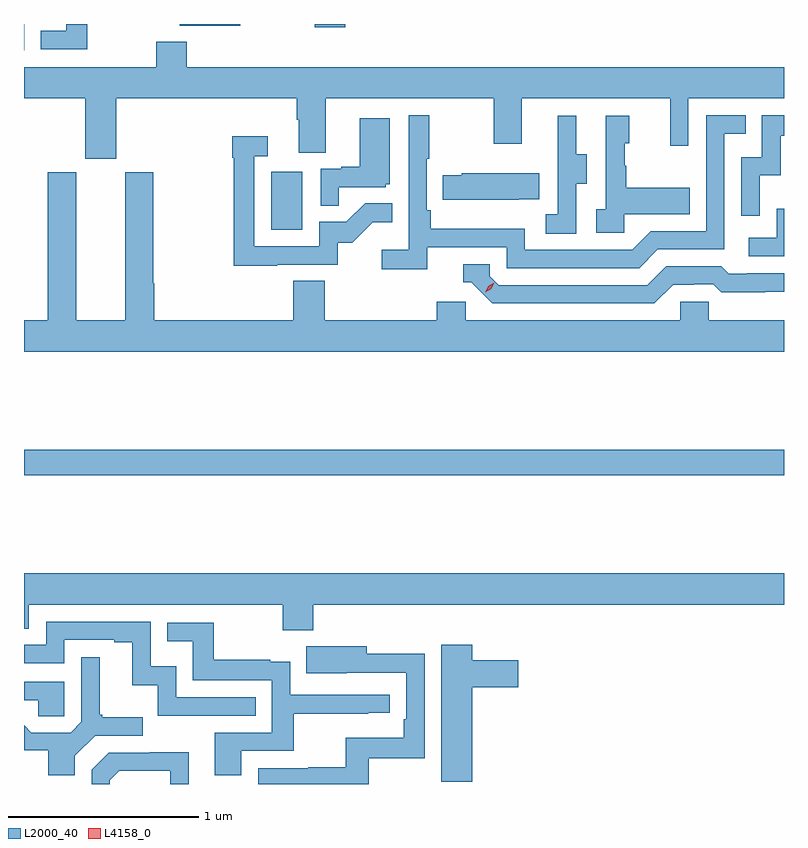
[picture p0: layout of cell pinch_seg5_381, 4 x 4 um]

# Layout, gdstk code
import gdstk
lib = gdstk.Library(unit=1e-6, precision=1e-09)
def R(c, l, rs):  # rectangles x0, y0, x1, y1
    for r in rs: c.add(gdstk.rectangle(r[:2], r[2:], *l))
def P(c, l, *ps):  # polygons
    for p in ps: c.add(gdstk.Polygon(p, *l))
L2000_40 = (2000, 40)
L4158_0 = (4158, 0)

pinch_seg5_381 = lib.new_cell('pinch_seg5_381')
R(pinch_seg5_381, L2000_40, [(986.086,865.432,990.086,865.568), (987.386,866.724,987.55,867.031), (986.086,867.669,986.088,867.808), (987.617,867.792,987.778,867.808), (986.905,867.8,987.223,867.808)])
P(pinch_seg5_381, L2000_40, [(986.419,867.808),(986.308,867.808),(986.308,867.772),(986.173,867.772),(986.173,867.675),(986.419,867.675)],
  [(986.572,867.416),(987.521,867.416),(987.521,867.304),(987.533,867.304),(987.533,867.13),(987.673,867.13),(987.673,867.416),(988.558,867.416),(988.558,867.177),(988.705,867.177),(988.705,867.416),(989.486,867.416),(989.486,867.168),(989.583,867.168),(989.583,867.416),(990.086,867.416),(990.086,867.58),(986.942,867.58),(986.942,867.715),(986.782,867.715),(986.782,867.58),(986.086,867.58),(986.086,867.416),(986.408,867.416),(986.408,867.099),(986.572,867.099)],
  [(988.208,866.634),(988.626,866.634),(988.626,866.523),(989.323,866.523),(989.422,866.622),(989.772,866.622),(989.772,867.231),(989.885,867.231),(989.885,867.327),(989.676,867.327),(989.676,866.718),(989.385,866.718),(989.286,866.619),(988.722,866.619),(988.722,866.731),(988.226,866.731),(988.226,866.827),(988.206,866.827),(988.206,867.1),(988.219,867.1),(988.219,867.328),(988.11,867.328),(988.11,866.62),(987.969,866.62),(987.969,866.518),(988.208,866.518)],
  [(989.958,867.011),(990.068,867.011),(990.068,867.219),(990.086,867.219),(990.086,867.327),(989.97,867.327),(989.97,867.108),(989.862,867.108),(989.862,866.799),(989.958,866.799)],
  [(989.244,866.807),(989.591,866.807),(989.591,866.947),(989.257,866.947),(989.257,867.062),(989.247,867.062),(989.247,867.18),(989.272,867.18),(989.272,867.325),(989.148,867.325),(989.148,866.834),(989.097,866.834),(989.097,866.709),(989.244,866.709)],
  [(988.992,866.968),(989.047,866.968),(989.047,867.123),(988.993,867.123),(988.993,867.325),(988.895,867.325),(988.895,867.111),(988.896,867.111),(988.896,866.807),(988.833,866.807),(988.833,866.704),(988.992,866.704)],
  [(987.743,866.949),(987.99,866.949),(987.99,866.964),(988.012,866.964),(988.012,867.313),(987.854,867.313),(987.854,867.058),(987.755,867.058),(987.755,867.045),(987.648,867.045),(987.648,866.851),(987.743,866.851)],
  [(987.419,866.541),(987.738,866.541),(987.738,866.658),(987.814,866.658),(987.921,866.765),(988.025,866.765),(988.025,866.864),(987.881,866.864),(987.783,866.766),(987.639,866.766),(987.639,866.637),(987.297,866.637),(987.297,867.111),(987.37,867.111),(987.37,867.217),(987.181,867.217),(987.181,867.104),(987.189,867.104),(987.189,866.536),(987.419,866.536)],
  [(990.086,866.248),(989.691,866.248),(989.691,866.346),(989.541,866.346),(989.541,866.248),(988.41,866.248),(988.41,866.346),(988.259,866.346),(988.259,866.248),(987.668,866.248),(987.668,866.456),(987.503,866.456),(987.503,866.248),(986.771,866.248),(986.771,866.444),(986.766,866.444),(986.766,867.027),(986.618,867.027),(986.618,866.248),(986.362,866.248),(986.362,867.027),(986.21,867.027),(986.21,866.248),(986.086,866.248),(986.086,866.084),(990.086,866.084)],
  [(988.691,866.885),(988.799,866.885),(988.799,867.022),(988.389,867.022),(988.389,867.012),(988.291,867.012),(988.291,866.882),(988.691,866.882)],
  [(990.086,866.836),(990.048,866.836),(990.048,866.682),(989.901,866.682),(989.901,866.586),(990.086,866.586)],
  [(989.503,866.436),(989.61,866.436),(989.61,866.439),(989.713,866.439),(989.755,866.397),(989.988,866.397),(989.988,866.399),(990.086,866.399),(990.086,866.496),(989.893,866.496),(989.893,866.493),(989.794,866.493),(989.755,866.532),(989.466,866.532),(989.367,866.433),(988.584,866.433),(988.536,866.481),(988.536,866.544),(988.397,866.544),(988.397,866.448),(988.44,866.448),(988.551,866.337),(989.404,866.337)],
  [(987.608,864.752),(990.086,864.752),(990.086,864.916),(986.086,864.916),(986.086,864.625),(986.112,864.625),(986.112,864.752),(987.448,864.752),(987.448,864.617),(987.608,864.617)],
  [(987.305,864.264),(986.886,864.264),(986.886,864.427),(986.754,864.427),(986.754,864.663),(986.202,864.663),(986.202,864.54),(986.086,864.54),(986.086,864.444),(986.298,864.444),(986.298,864.567),(986.561,864.567),(986.561,864.555),(986.657,864.555),(986.657,864.329),(986.79,864.329),(986.79,864.168),(987.305,864.168)],
  [(987.229,863.982),(987.506,863.982),(987.506,864.178),(987.899,864.178),(987.899,864.183),(988.012,864.183),(988.012,864.279),(987.486,864.279),(987.486,864.451),(987.383,864.451),(987.383,864.463),(987.085,864.463),(987.085,864.657),(986.839,864.657),(986.839,864.56),(986.974,864.56),(986.974,864.354),(987.39,864.354),(987.39,864.078),(987.089,864.078),(987.089,863.854),(987.229,863.854)],
  [(988.444,864.317),(988.687,864.317),(988.687,864.459),(988.444,864.459),(988.444,864.541),(988.283,864.541),(988.283,863.82),(988.444,863.82)],
  [(987.901,863.943),(988.194,863.943),(988.194,864.494),(987.889,864.494),(987.889,864.532),(987.571,864.532),(987.571,864.392),(987.785,864.392),(987.785,864.393),(988.098,864.393),(988.098,864.148),(988.085,864.148),(988.085,864.052),(987.78,864.052),(987.78,863.897),(987.583,863.897),(987.583,863.892),(987.318,863.892),(987.318,863.808),(987.901,863.808)],
  [(986.353,863.956),(986.46,864.063),(986.71,864.063),(986.71,864.16),(986.497,864.16),(986.497,864.172),(986.485,864.172),(986.485,864.475),(986.388,864.475),(986.388,864.135),(986.331,864.078),(986.125,864.078),(986.086,864.117),(986.086,863.986),(986.213,863.986),(986.213,863.854),(986.353,863.854)],
  [(986.298,864.345),(986.086,864.345),(986.086,864.249),(986.161,864.249),(986.161,864.165),(986.298,864.165)],
  [(986.538,863.829),(986.586,863.877),(986.856,863.877),(986.856,863.808),(986.953,863.808),(986.953,863.975),(986.748,863.975),(986.748,863.973),(986.532,863.973),(986.442,863.883),(986.442,863.808),(986.538,863.808)])
P(pinch_seg5_381, L4158_0, [(988.513,866.395),(988.513,866.395),(988.529,866.427),(988.56,866.447),(988.56,866.447),(988.56,866.447),(988.544,866.414),(988.513,866.395)])

lib.write_gds('pinch_seg5_381.gds')
